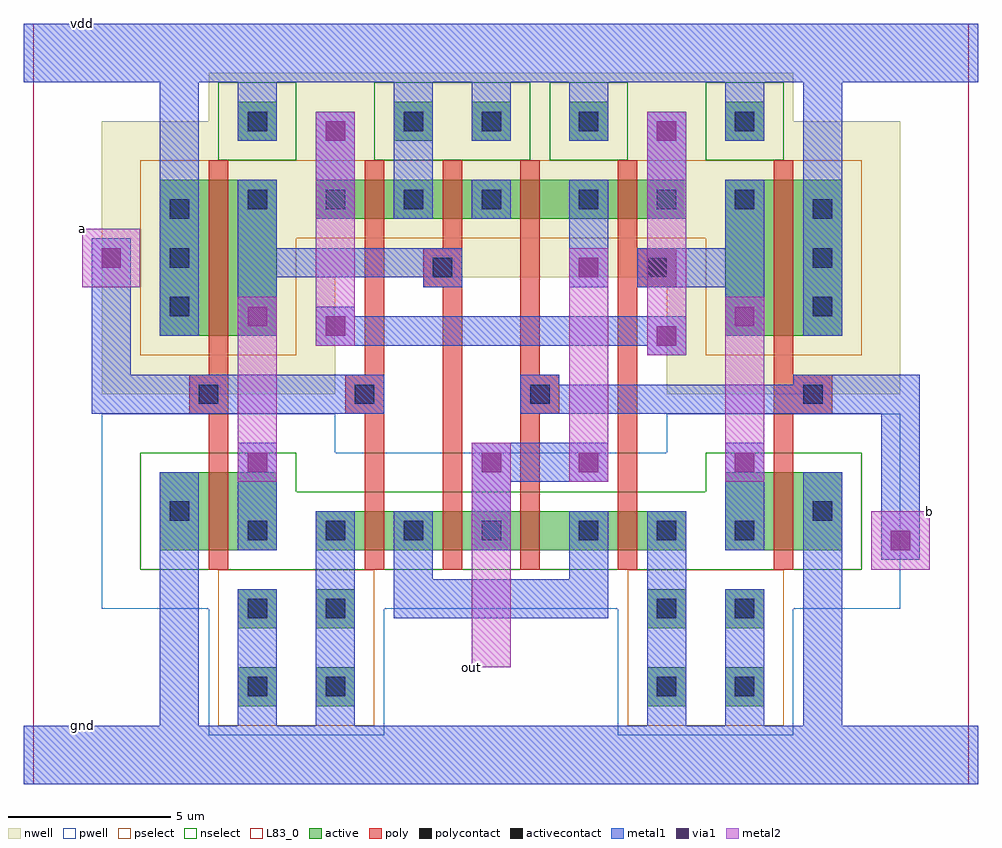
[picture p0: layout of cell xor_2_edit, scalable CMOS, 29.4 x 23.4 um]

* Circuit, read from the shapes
.subckt xor_2_edit a b gnd out vdd
M1 n1 a gnd gnd nfet w=2.4u l=0.6u
M2 n2 a gnd gnd nfet w=1.2u l=0.6u
M3 out n1 n2 gnd nfet w=1.2u l=0.6u
M4 n2 b out gnd nfet w=1.2u l=0.6u
M5 gnd n3 n2 gnd nfet w=1.2u l=0.6u
M6 gnd b n3 gnd nfet w=2.4u l=0.6u
M7 n1 a vdd vdd pfet w=4.8u l=0.6u
M8 vdd a n4 vdd pfet w=1.2u l=0.6u
M9 n5 n1 vdd vdd pfet w=1.2u l=0.6u
M10 out b n5 vdd pfet w=1.2u l=0.6u
M11 n4 n3 out vdd pfet w=1.2u l=0.6u
M12 vdd b n3 vdd pfet w=4.8u l=0.6u
.ends

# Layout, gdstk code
import gdstk
lib = gdstk.Library(unit=1e-6, precision=1e-09)
def R(c, l, rs):  # rectangles x0, y0, x1, y1
    for r in rs: c.add(gdstk.rectangle(r[:2], r[2:], *l))
def A(c, l, x, y, w, h, nx, ny, dx, dy):  # array of equal rectangles
    R(c, l, [(x+i*dx, y+j*dy, x+i*dx+w, y+j*dy+h) for i in range(nx) for j in range(ny)])
pwell = (41, 0)
nwell = (42, 0)
active = (43, 0)
pselect = (44, 0)
nselect = (45, 0)
poly = (46, 0)
polycontact = (47, 0)
activecontact = (48, 0)
metal1 = (49, 0)
via1 = (50, 0)
metal2 = (51, 0)
L83_0 = (83, 0)

xor_2_edit = lib.new_cell('xor_2_edit')
R(xor_2_edit, pwell, [(-3.9,1.5,1.5,5.4), (8.7,1.5,14.1,5.4), (-7.2,5.4,17.4,10.2), (-7.2,10.2,0,11.4), (10.2,10.2,17.4,11.4)])
R(xor_2_edit, nwell, [(-7.2,12,0,15.6), (10.2,12,17.4,15.6), (-7.2,15.6,17.4,20.4), (-3.9,20.4,14.1,21.9)])
R(xor_2_edit, active, [(-3,2.4,-1.8,3.6), (-0.6,2.4,0.6,3.6), (9.6,2.4,10.8,3.6), (12,2.4,13.2,3.6), (-3,4.8,-1.8,6), (-0.6,4.8,0.6,6), (9.6,4.8,10.8,6), (12,4.8,13.2,6), (-5.4,7.2,-1.8,9.6), (-0.6,7.2,10.8,8.4), (12,7.2,15.6,9.6), (-5.4,13.8,-1.8,18.6), (12,13.8,15.6,18.6), (-0.6,17.4,10.8,18.6), (-3,19.8,-1.8,21), (1.8,19.8,3,21), (4.2,19.8,5.4,21), (7.2,19.8,8.4,21), (12,19.8,13.2,21)])
R(xor_2_edit, pselect, [(-3.6,1.8,1.2,6.6), (9,1.8,13.8,6.6), (-6,13.2,-1.2,16.8), (11.4,13.2,16.2,16.8), (-6,16.8,16.2,19.2)])
R(xor_2_edit, nselect, [(-6,6.6,16.2,9), (-6,9,-1.2,10.2), (11.4,9,16.2,10.2), (-3.6,19.2,-1.2,21.6), (1.2,19.2,6,21.6), (6.6,19.2,9,21.6), (11.4,19.2,13.8,21.6)])
A(xor_2_edit, poly, -3.9, 6.6, 0.6, 4.8, 3, 1, 4.8, 0)
A(xor_2_edit, poly, -3.9, 12.6, 0.6, 6.6, 3, 1, 4.8, 0)
R(xor_2_edit, poly, [(3.3,6.6,3.9,15.3), (8.7,6.6,9.3,15.3), (13.5,6.6,14.1,11.4), (-4.5,11.4,-3.3,12.6), (0.3,11.4,1.5,12.6), (5.7,11.4,6.9,12.6), (13.5,11.4,15.3,12.6), (13.5,12.6,14.1,19.2), (2.7,15.3,3.9,16.5), (8.7,15.3,10.5,16.5), (3.3,16.5,3.9,19.2), (8.7,16.5,9.3,19.2)])
R(xor_2_edit, polycontact, [(-4.2,11.7,-3.6,12.3), (0.6,11.7,1.2,12.3), (6,11.7,6.6,12.3), (14.4,11.7,15,12.3), (3,15.6,3.6,16.2), (9.6,15.6,10.2,16.2)])
A(xor_2_edit, activecontact, -2.7, 7.5, 0.6, 0.6, 4, 2, 2.4, 10.2)
A(xor_2_edit, activecontact, 7.5, 7.5, 0.6, 0.6, 3, 2, 2.4, 10.2)
A(xor_2_edit, activecontact, -5.1, 14.4, 0.6, 0.6, 1, 3, 0, 1.5)
A(xor_2_edit, activecontact, 14.7, 14.4, 0.6, 0.6, 1, 3, 0, 1.5)
R(xor_2_edit, activecontact, [(-2.7,2.7,-2.1,3.3), (-0.3,2.7,0.3,3.3), (9.9,2.7,10.5,3.3), (12.3,2.7,12.9,3.3), (-2.7,5.1,-2.1,5.7), (-0.3,5.1,0.3,5.7), (9.9,5.1,10.5,5.7), (12.3,5.1,12.9,5.7), (-5.1,8.1,-4.5,8.7), (14.7,8.1,15.3,8.7), (-2.7,20.1,-2.1,20.7), (2.1,20.1,2.7,20.7), (4.5,20.1,5.1,20.7), (7.5,20.1,8.1,20.7), (12.3,20.1,12.9,20.7)])
R(xor_2_edit, metal1, [(-9.6,0,19.8,1.8), (-5.4,1.8,-4.2,9.6), (-3,1.8,-1.8,6), (-0.6,1.8,0.6,8.4), (9.6,1.8,10.8,8.4), (12,1.8,13.2,6), (14.4,1.8,15.6,9.6), (1.8,5.1,8.4,6.3), (1.8,6.3,3,8.4), (7.2,6.3,8.4,8.4), (16.8,6.9,18,11.4), (-3,7.2,-1.8,10.5), (4.2,7.2,5.4,9.3), (12,7.2,13.2,10.5), (4.2,9.3,8.4,10.5), (-7.5,11.4,1.5,12.6), (5.7,11.4,18,12.3), (5.7,12.3,6.9,12.6), (14.1,12.3,18,12.6), (-7.5,12.6,-6.3,16.8), (9.6,13.2,10.8,13.5), (-0.6,13.5,10.8,14.4), (-5.4,13.8,-4.2,21.6), (-3,13.8,-1.8,15.6), (12,13.8,13.2,15.3), (14.4,13.8,15.6,21.6), (-0.6,14.4,0.6,14.7), (2.7,15.3,3.9,15.6), (7.2,15.3,8.4,18.6), (9.3,15.3,13.2,16.5), (-3,15.6,3.9,16.5), (-3,16.5,-1.8,18.6), (12,16.5,13.2,18.6), (-0.6,17.4,0.6,20.7), (1.8,17.4,3,21.6), (4.2,17.4,5.4,18.6), (9.6,17.4,10.8,20.7), (-3,19.8,-1.8,21.6), (4.2,19.8,5.4,21.6), (7.2,19.8,8.4,21.6), (12,19.8,13.2,21.6), (-9.6,21.6,19.8,23.4)])
R(xor_2_edit, via1, [(17.1,7.2,17.7,7.8), (-2.7,9.6,-2.1,10.2), (4.5,9.6,5.1,10.2), (7.5,9.6,8.1,10.2), (12.3,9.6,12.9,10.2), (9.9,13.5,10.5,14.1), (-0.3,13.8,0.3,14.4), (-2.7,14.1,-2.1,14.7), (12.3,14.1,12.9,14.7), (7.5,15.6,8.1,16.2), (-7.2,15.9,-6.6,16.5), (-0.3,19.8,0.3,20.4), (9.9,19.8,10.5,20.4)])
R(xor_2_edit, metal2, [(4.2,3.6,5.4,10.5), (16.5,6.6,18.3,8.4), (-3,9.3,-1.8,15), (7.2,9.3,8.4,16.5), (12,9.3,13.2,15), (9.6,13.2,10.8,20.7), (-0.6,13.5,0.6,20.7), (-7.8,15.3,-6,17.1)])
R(xor_2_edit, L83_0, [(-9.3,0,19.5,23.4)])
xor_2_edit.add(gdstk.Label('gnd', (-7.8,1.8), layer=49, texttype=0))
xor_2_edit.add(gdstk.Label('vdd', (-7.8,23.4), layer=49, texttype=0))
xor_2_edit.add(gdstk.Label('a', (-7.8,17.1), layer=51, texttype=0))
xor_2_edit.add(gdstk.Label('b', (18.3,8.4), layer=51, texttype=0))
xor_2_edit.add(gdstk.Label('out', (4.2,3.6), layer=51, texttype=0))

lib.write_gds('xor_2_edit.gds')
